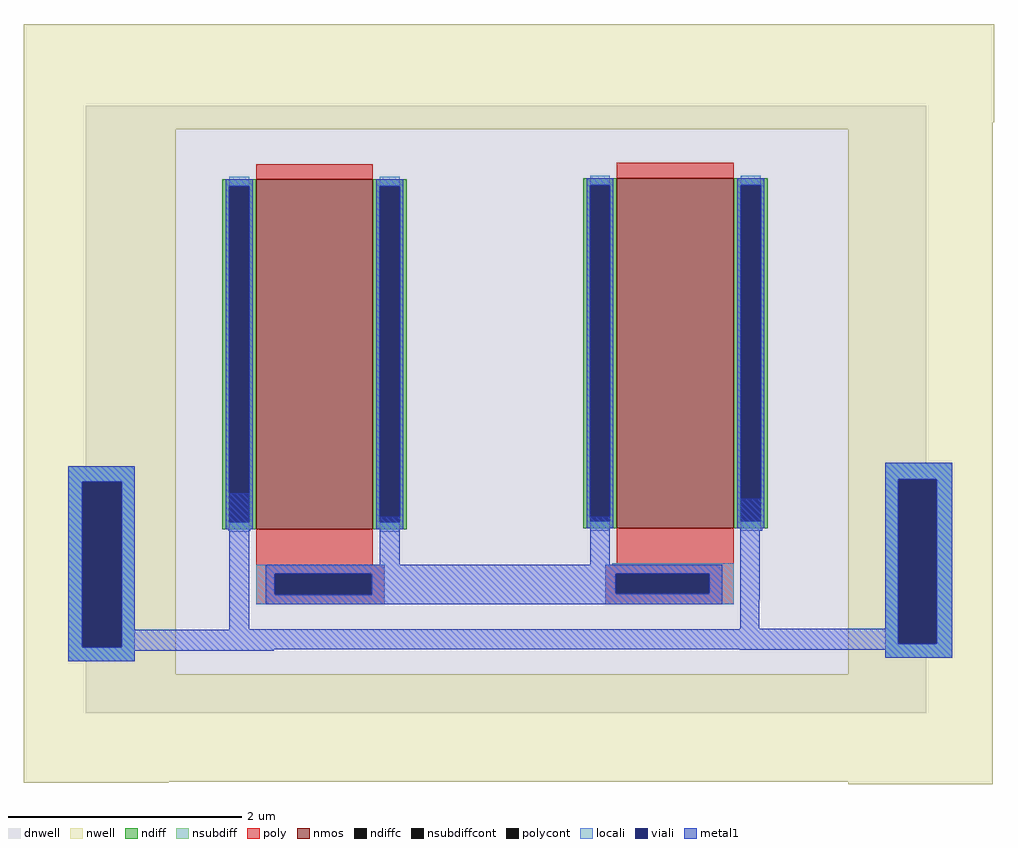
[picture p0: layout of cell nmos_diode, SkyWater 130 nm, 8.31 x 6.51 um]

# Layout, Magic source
magic
tech sky130A
magscale 1 2
<< dnwell >>
rect 118 -1078 1558 -38
<< nwell >>
rect 12 -66 1674 102
rect 12 -78 1672 -66
rect 12 -1012 272 -78
rect 1424 -1012 1672 -78
rect 12 -1196 1672 -1012
rect 12 -1198 260 -1196
rect 1424 -1200 1672 -1196
<< nsubdiff >>
rect 88 -682 202 -656
rect 88 -966 112 -682
rect 180 -966 202 -682
rect 1488 -678 1602 -650
rect 88 -990 202 -966
rect 1488 -960 1510 -678
rect 1576 -960 1602 -678
rect 1488 -984 1602 -960
<< nsubdiffcont >>
rect 112 -966 180 -682
rect 1510 -960 1576 -678
<< poly >>
rect 410 -824 610 -764
rect 1028 -822 1228 -770
rect 1020 -824 1228 -822
rect 410 -840 630 -824
rect 410 -876 442 -840
rect 608 -876 630 -840
rect 410 -892 630 -876
rect 1008 -840 1228 -824
rect 1008 -874 1026 -840
rect 1186 -874 1228 -840
rect 1008 -892 1228 -874
<< polycont >>
rect 442 -876 608 -840
rect 1026 -874 1186 -840
<< locali >>
rect 88 -682 202 -656
rect 88 -966 112 -682
rect 180 -966 202 -682
rect 1488 -678 1602 -650
rect 1020 -824 1228 -822
rect 410 -840 630 -824
rect 410 -876 442 -840
rect 608 -876 630 -840
rect 410 -892 630 -876
rect 1008 -840 1228 -824
rect 1008 -874 1026 -840
rect 1186 -874 1228 -840
rect 1008 -892 1228 -874
rect 88 -990 202 -966
rect 1488 -960 1510 -678
rect 1576 -960 1602 -678
rect 1488 -984 1602 -960
<< viali >>
rect 112 -966 180 -682
rect 442 -876 608 -840
rect 1026 -874 1186 -840
rect 1510 -960 1576 -678
<< metal1 >>
rect 88 -682 202 -656
rect 88 -966 112 -682
rect 180 -936 202 -682
rect 1488 -678 1602 -650
rect 362 -766 400 -702
rect 364 -935 398 -766
rect 622 -824 656 -742
rect 982 -824 1016 -742
rect 1239 -766 1277 -711
rect 426 -840 1208 -824
rect 426 -876 442 -840
rect 608 -874 1026 -840
rect 1186 -874 1208 -840
rect 608 -876 1208 -874
rect 426 -892 1208 -876
rect 1239 -884 1273 -766
rect 1239 -934 1272 -884
rect 1488 -934 1510 -678
rect 1238 -935 1510 -934
rect 364 -936 1510 -935
rect 180 -960 1510 -936
rect 1576 -960 1602 -678
rect 180 -966 1602 -960
rect 88 -969 1602 -966
rect 88 -972 440 -969
rect 1238 -970 1602 -969
rect 88 -990 202 -972
rect 1488 -984 1602 -970
use sky130_fd_pr__nfet_01v8_EFUU27  sky130_fd_pr__nfet_01v8_EFUU27_0
transform 1 0 1128 0 1 -462
box -158 -326 158 326
use sky130_fd_pr__nfet_01v8_EFUU27  sky130_fd_pr__nfet_01v8_EFUU27_1
transform 1 0 510 0 1 -464
box -158 -326 158 326
<< end >>

# cell sky130_fd_pr__nfet_01v8_EFUU27: kit device sky130_fd_pr__nfet_01v8, w 3 l 1 m 1 nf 1 diffcov 100 polycov 100 guard 0 glc 1 grc 1 gtc 1 gbc 1 tbcov 100 rlcov 100 topc 0 botc 0 poverlap 0 doverlap 1 lmin 0.15 wmin 0.42 compatible {sky130_fd_pr__nfet_01v8 sky130_fd_pr__nfet_01v8_lvt sky130_fd_bs_flash__special_sonosfet_star sky130_fd_pr__nfet_g5v0d10v5 sky130_fd_pr__nfet_05v0_nvt sky130_fd_pr__nfet_03v3_nvt} full_metal 0 viasrc 100 viadrn 100 viagate 0 viagb 0 viagr 0 viagl 0 viagt 0
